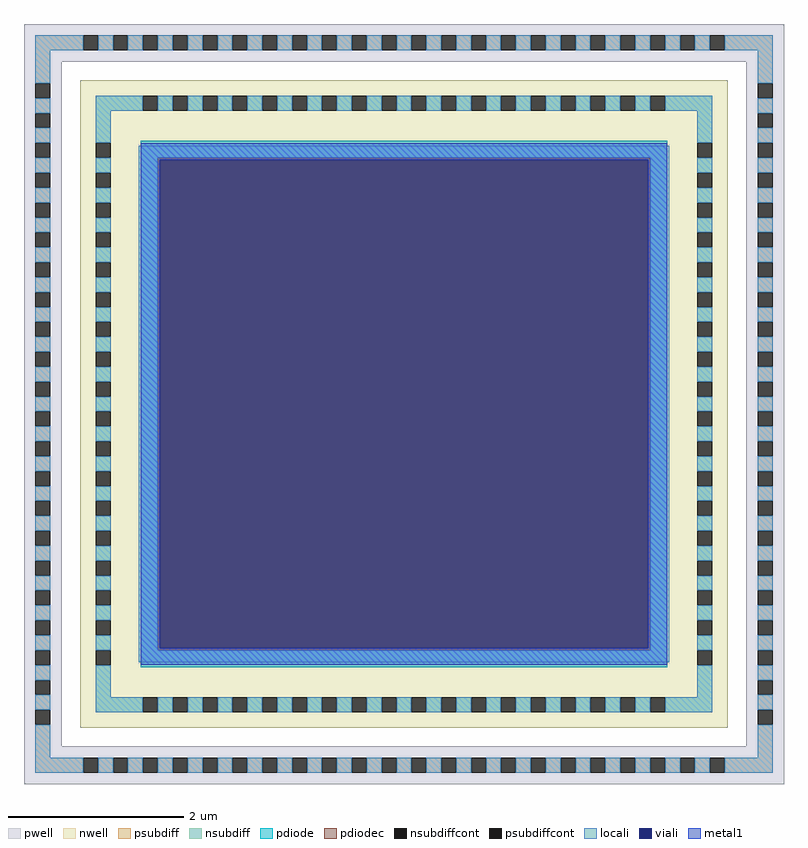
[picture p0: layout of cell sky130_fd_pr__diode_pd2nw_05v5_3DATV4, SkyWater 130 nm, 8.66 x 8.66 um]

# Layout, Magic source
magic
tech sky130A
magscale 1 2
<< nwell >>
rect -738 -738 738 738
<< pwell >>
rect -866 780 866 866
rect -866 -780 -780 780
rect 780 -780 866 780
rect -866 -866 866 -780
<< psubdiff >>
rect -840 806 -731 840
rect -697 806 -663 840
rect -629 806 -595 840
rect -561 806 -527 840
rect -493 806 -459 840
rect -425 806 -391 840
rect -357 806 -323 840
rect -289 806 -255 840
rect -221 806 -187 840
rect -153 806 -119 840
rect -85 806 -51 840
rect -17 806 17 840
rect 51 806 85 840
rect 119 806 153 840
rect 187 806 221 840
rect 255 806 289 840
rect 323 806 357 840
rect 391 806 425 840
rect 459 806 493 840
rect 527 806 561 840
rect 595 806 629 840
rect 663 806 697 840
rect 731 806 840 840
rect -840 731 -806 806
rect 806 731 840 806
rect -840 663 -806 697
rect -840 595 -806 629
rect -840 527 -806 561
rect -840 459 -806 493
rect -840 391 -806 425
rect -840 323 -806 357
rect -840 255 -806 289
rect -840 187 -806 221
rect -840 119 -806 153
rect -840 51 -806 85
rect -840 -17 -806 17
rect -840 -85 -806 -51
rect -840 -153 -806 -119
rect -840 -221 -806 -187
rect -840 -289 -806 -255
rect -840 -357 -806 -323
rect -840 -425 -806 -391
rect -840 -493 -806 -459
rect -840 -561 -806 -527
rect -840 -629 -806 -595
rect -840 -697 -806 -663
rect 806 663 840 697
rect 806 595 840 629
rect 806 527 840 561
rect 806 459 840 493
rect 806 391 840 425
rect 806 323 840 357
rect 806 255 840 289
rect 806 187 840 221
rect 806 119 840 153
rect 806 51 840 85
rect 806 -17 840 17
rect 806 -85 840 -51
rect 806 -153 840 -119
rect 806 -221 840 -187
rect 806 -289 840 -255
rect 806 -357 840 -323
rect 806 -425 840 -391
rect 806 -493 840 -459
rect 806 -561 840 -527
rect 806 -629 840 -595
rect 806 -697 840 -663
rect -840 -806 -806 -731
rect 806 -806 840 -731
rect -840 -840 -731 -806
rect -697 -840 -663 -806
rect -629 -840 -595 -806
rect -561 -840 -527 -806
rect -493 -840 -459 -806
rect -425 -840 -391 -806
rect -357 -840 -323 -806
rect -289 -840 -255 -806
rect -221 -840 -187 -806
rect -153 -840 -119 -806
rect -85 -840 -51 -806
rect -17 -840 17 -806
rect 51 -840 85 -806
rect 119 -840 153 -806
rect 187 -840 221 -806
rect 255 -840 289 -806
rect 323 -840 357 -806
rect 391 -840 425 -806
rect 459 -840 493 -806
rect 527 -840 561 -806
rect 595 -840 629 -806
rect 663 -840 697 -806
rect 731 -840 840 -806
<< nsubdiff >>
rect -702 668 -595 702
rect -561 668 -527 702
rect -493 668 -459 702
rect -425 668 -391 702
rect -357 668 -323 702
rect -289 668 -255 702
rect -221 668 -187 702
rect -153 668 -119 702
rect -85 668 -51 702
rect -17 668 17 702
rect 51 668 85 702
rect 119 668 153 702
rect 187 668 221 702
rect 255 668 289 702
rect 323 668 357 702
rect 391 668 425 702
rect 459 668 493 702
rect 527 668 561 702
rect 595 668 702 702
rect -702 595 -668 668
rect -702 527 -668 561
rect -702 459 -668 493
rect -702 391 -668 425
rect -702 323 -668 357
rect -702 255 -668 289
rect -702 187 -668 221
rect -702 119 -668 153
rect -702 51 -668 85
rect -702 -17 -668 17
rect -702 -85 -668 -51
rect -702 -153 -668 -119
rect -702 -221 -668 -187
rect -702 -289 -668 -255
rect -702 -357 -668 -323
rect -702 -425 -668 -391
rect -702 -493 -668 -459
rect -702 -561 -668 -527
rect -702 -668 -668 -595
rect 668 595 702 668
rect 668 527 702 561
rect 668 459 702 493
rect 668 391 702 425
rect 668 323 702 357
rect 668 255 702 289
rect 668 187 702 221
rect 668 119 702 153
rect 668 51 702 85
rect 668 -17 702 17
rect 668 -85 702 -51
rect 668 -153 702 -119
rect 668 -221 702 -187
rect 668 -289 702 -255
rect 668 -357 702 -323
rect 668 -425 702 -391
rect 668 -493 702 -459
rect 668 -561 702 -527
rect 668 -668 702 -595
rect -702 -702 -595 -668
rect -561 -702 -527 -668
rect -493 -702 -459 -668
rect -425 -702 -391 -668
rect -357 -702 -323 -668
rect -289 -702 -255 -668
rect -221 -702 -187 -668
rect -153 -702 -119 -668
rect -85 -702 -51 -668
rect -17 -702 17 -668
rect 51 -702 85 -668
rect 119 -702 153 -668
rect 187 -702 221 -668
rect 255 -702 289 -668
rect 323 -702 357 -668
rect 391 -702 425 -668
rect 459 -702 493 -668
rect 527 -702 561 -668
rect 595 -702 702 -668
<< psubdiffcont >>
rect -731 806 -697 840
rect -663 806 -629 840
rect -595 806 -561 840
rect -527 806 -493 840
rect -459 806 -425 840
rect -391 806 -357 840
rect -323 806 -289 840
rect -255 806 -221 840
rect -187 806 -153 840
rect -119 806 -85 840
rect -51 806 -17 840
rect 17 806 51 840
rect 85 806 119 840
rect 153 806 187 840
rect 221 806 255 840
rect 289 806 323 840
rect 357 806 391 840
rect 425 806 459 840
rect 493 806 527 840
rect 561 806 595 840
rect 629 806 663 840
rect 697 806 731 840
rect -840 697 -806 731
rect -840 629 -806 663
rect -840 561 -806 595
rect -840 493 -806 527
rect -840 425 -806 459
rect -840 357 -806 391
rect -840 289 -806 323
rect -840 221 -806 255
rect -840 153 -806 187
rect -840 85 -806 119
rect -840 17 -806 51
rect -840 -51 -806 -17
rect -840 -119 -806 -85
rect -840 -187 -806 -153
rect -840 -255 -806 -221
rect -840 -323 -806 -289
rect -840 -391 -806 -357
rect -840 -459 -806 -425
rect -840 -527 -806 -493
rect -840 -595 -806 -561
rect -840 -663 -806 -629
rect -840 -731 -806 -697
rect 806 697 840 731
rect 806 629 840 663
rect 806 561 840 595
rect 806 493 840 527
rect 806 425 840 459
rect 806 357 840 391
rect 806 289 840 323
rect 806 221 840 255
rect 806 153 840 187
rect 806 85 840 119
rect 806 17 840 51
rect 806 -51 840 -17
rect 806 -119 840 -85
rect 806 -187 840 -153
rect 806 -255 840 -221
rect 806 -323 840 -289
rect 806 -391 840 -357
rect 806 -459 840 -425
rect 806 -527 840 -493
rect 806 -595 840 -561
rect 806 -663 840 -629
rect 806 -731 840 -697
rect -731 -840 -697 -806
rect -663 -840 -629 -806
rect -595 -840 -561 -806
rect -527 -840 -493 -806
rect -459 -840 -425 -806
rect -391 -840 -357 -806
rect -323 -840 -289 -806
rect -255 -840 -221 -806
rect -187 -840 -153 -806
rect -119 -840 -85 -806
rect -51 -840 -17 -806
rect 17 -840 51 -806
rect 85 -840 119 -806
rect 153 -840 187 -806
rect 221 -840 255 -806
rect 289 -840 323 -806
rect 357 -840 391 -806
rect 425 -840 459 -806
rect 493 -840 527 -806
rect 561 -840 595 -806
rect 629 -840 663 -806
rect 697 -840 731 -806
<< nsubdiffcont >>
rect -595 668 -561 702
rect -527 668 -493 702
rect -459 668 -425 702
rect -391 668 -357 702
rect -323 668 -289 702
rect -255 668 -221 702
rect -187 668 -153 702
rect -119 668 -85 702
rect -51 668 -17 702
rect 17 668 51 702
rect 85 668 119 702
rect 153 668 187 702
rect 221 668 255 702
rect 289 668 323 702
rect 357 668 391 702
rect 425 668 459 702
rect 493 668 527 702
rect 561 668 595 702
rect -702 561 -668 595
rect -702 493 -668 527
rect -702 425 -668 459
rect -702 357 -668 391
rect -702 289 -668 323
rect -702 221 -668 255
rect -702 153 -668 187
rect -702 85 -668 119
rect -702 17 -668 51
rect -702 -51 -668 -17
rect -702 -119 -668 -85
rect -702 -187 -668 -153
rect -702 -255 -668 -221
rect -702 -323 -668 -289
rect -702 -391 -668 -357
rect -702 -459 -668 -425
rect -702 -527 -668 -493
rect -702 -595 -668 -561
rect 668 561 702 595
rect 668 493 702 527
rect 668 425 702 459
rect 668 357 702 391
rect 668 289 702 323
rect 668 221 702 255
rect 668 153 702 187
rect 668 85 702 119
rect 668 17 702 51
rect 668 -51 702 -17
rect 668 -119 702 -85
rect 668 -187 702 -153
rect 668 -255 702 -221
rect 668 -323 702 -289
rect 668 -391 702 -357
rect 668 -459 702 -425
rect 668 -527 702 -493
rect 668 -595 702 -561
rect -595 -702 -561 -668
rect -527 -702 -493 -668
rect -459 -702 -425 -668
rect -391 -702 -357 -668
rect -323 -702 -289 -668
rect -255 -702 -221 -668
rect -187 -702 -153 -668
rect -119 -702 -85 -668
rect -51 -702 -17 -668
rect 17 -702 51 -668
rect 85 -702 119 -668
rect 153 -702 187 -668
rect 221 -702 255 -668
rect 289 -702 323 -668
rect 357 -702 391 -668
rect 425 -702 459 -668
rect 493 -702 527 -668
rect 561 -702 595 -668
<< pdiode >>
rect -600 561 600 600
rect -600 -561 -561 561
rect 561 -561 600 561
rect -600 -600 600 -561
<< pdiodec >>
rect -561 -561 561 561
<< locali >>
rect -840 806 -731 840
rect -697 806 -663 840
rect -629 806 -595 840
rect -561 806 -527 840
rect -493 806 -459 840
rect -425 806 -391 840
rect -357 806 -323 840
rect -289 806 -255 840
rect -221 806 -187 840
rect -153 806 -119 840
rect -85 806 -51 840
rect -17 806 17 840
rect 51 806 85 840
rect 119 806 153 840
rect 187 806 221 840
rect 255 806 289 840
rect 323 806 357 840
rect 391 806 425 840
rect 459 806 493 840
rect 527 806 561 840
rect 595 806 629 840
rect 663 806 697 840
rect 731 806 840 840
rect -840 731 -806 806
rect 806 731 840 806
rect -840 663 -806 697
rect -840 595 -806 629
rect -840 527 -806 561
rect -840 459 -806 493
rect -840 391 -806 425
rect -840 323 -806 357
rect -840 255 -806 289
rect -840 187 -806 221
rect -840 119 -806 153
rect -840 51 -806 85
rect -840 -17 -806 17
rect -840 -85 -806 -51
rect -840 -153 -806 -119
rect -840 -221 -806 -187
rect -840 -289 -806 -255
rect -840 -357 -806 -323
rect -840 -425 -806 -391
rect -840 -493 -806 -459
rect -840 -561 -806 -527
rect -840 -629 -806 -595
rect -840 -697 -806 -663
rect -702 668 -595 702
rect -561 668 -527 702
rect -493 668 -459 702
rect -425 668 -391 702
rect -357 668 -323 702
rect -289 668 -255 702
rect -221 668 -187 702
rect -153 668 -119 702
rect -85 668 -51 702
rect -17 668 17 702
rect 51 668 85 702
rect 119 668 153 702
rect 187 668 221 702
rect 255 668 289 702
rect 323 668 357 702
rect 391 668 425 702
rect 459 668 493 702
rect 527 668 561 702
rect 595 668 702 702
rect -702 595 -668 668
rect 668 595 702 668
rect -702 527 -668 561
rect -702 459 -668 493
rect -702 391 -668 425
rect -702 323 -668 357
rect -702 255 -668 289
rect -702 187 -668 221
rect -702 119 -668 153
rect -702 51 -668 85
rect -702 -17 -668 17
rect -702 -85 -668 -51
rect -702 -153 -668 -119
rect -702 -221 -668 -187
rect -702 -289 -668 -255
rect -702 -357 -668 -323
rect -702 -425 -668 -391
rect -702 -493 -668 -459
rect -702 -561 -668 -527
rect -604 561 604 588
rect -604 -561 -561 561
rect 561 -561 604 561
rect -604 -588 604 -561
rect 668 527 702 561
rect 668 459 702 493
rect 668 391 702 425
rect 668 323 702 357
rect 668 255 702 289
rect 668 187 702 221
rect 668 119 702 153
rect 668 51 702 85
rect 668 -17 702 17
rect 668 -85 702 -51
rect 668 -153 702 -119
rect 668 -221 702 -187
rect 668 -289 702 -255
rect 668 -357 702 -323
rect 668 -425 702 -391
rect 668 -493 702 -459
rect 668 -561 702 -527
rect -702 -668 -668 -595
rect 668 -668 702 -595
rect -702 -702 -595 -668
rect -561 -702 -527 -668
rect -493 -702 -459 -668
rect -425 -702 -391 -668
rect -357 -702 -323 -668
rect -289 -702 -255 -668
rect -221 -702 -187 -668
rect -153 -702 -119 -668
rect -85 -702 -51 -668
rect -17 -702 17 -668
rect 51 -702 85 -668
rect 119 -702 153 -668
rect 187 -702 221 -668
rect 255 -702 289 -668
rect 323 -702 357 -668
rect 391 -702 425 -668
rect 459 -702 493 -668
rect 527 -702 561 -668
rect 595 -702 702 -668
rect 806 663 840 697
rect 806 595 840 629
rect 806 527 840 561
rect 806 459 840 493
rect 806 391 840 425
rect 806 323 840 357
rect 806 255 840 289
rect 806 187 840 221
rect 806 119 840 153
rect 806 51 840 85
rect 806 -17 840 17
rect 806 -85 840 -51
rect 806 -153 840 -119
rect 806 -221 840 -187
rect 806 -289 840 -255
rect 806 -357 840 -323
rect 806 -425 840 -391
rect 806 -493 840 -459
rect 806 -561 840 -527
rect 806 -629 840 -595
rect 806 -697 840 -663
rect -840 -806 -806 -731
rect 806 -806 840 -731
rect -840 -840 -731 -806
rect -697 -840 -663 -806
rect -629 -840 -595 -806
rect -561 -840 -527 -806
rect -493 -840 -459 -806
rect -425 -840 -391 -806
rect -357 -840 -323 -806
rect -289 -840 -255 -806
rect -221 -840 -187 -806
rect -153 -840 -119 -806
rect -85 -840 -51 -806
rect -17 -840 17 -806
rect 51 -840 85 -806
rect 119 -840 153 -806
rect 187 -840 221 -806
rect 255 -840 289 -806
rect 323 -840 357 -806
rect 391 -840 425 -806
rect 459 -840 493 -806
rect 527 -840 561 -806
rect 595 -840 629 -806
rect 663 -840 697 -806
rect 731 -840 840 -806
<< viali >>
rect -557 -557 557 557
<< metal1 >>
rect -600 557 600 594
rect -600 -557 -557 557
rect 557 -557 600 557
rect -600 -594 600 -557
<< properties >>
string FIXED_BBOX -684 -684 684 684
<< end >>
